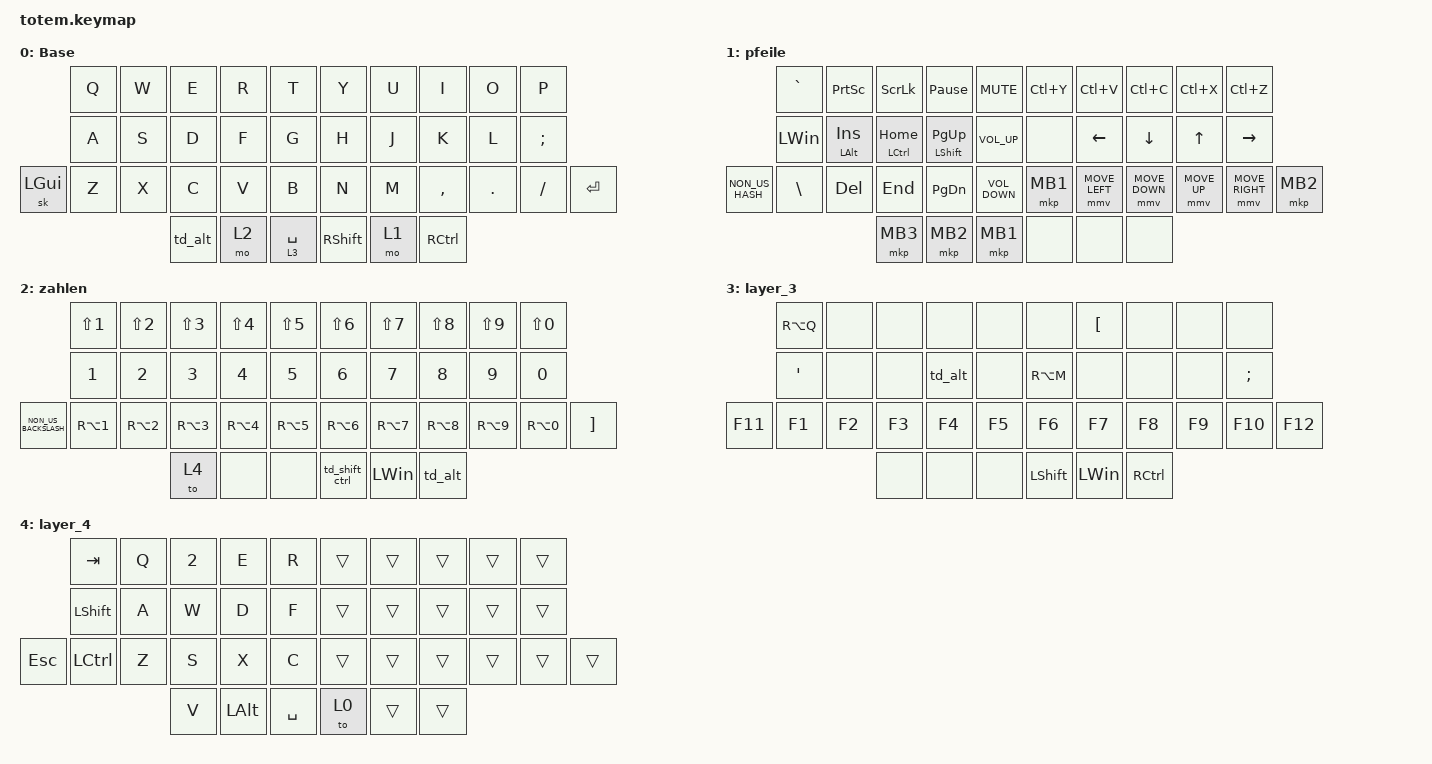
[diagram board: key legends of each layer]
//
//                                                        ▀▀▀▀▀     ▀▀▀▀▀          ▀▀█▀▀
//                                                        ▄▀▀▀▄  ▄  ▄▀▀▀▄  ▄  ▄▀▀▀▄  █  ▄▀▀▀▄
//                                                        █   █  █  █   █  █  █   █  █  █   █
//                                                         ▀▀▀   █   ▀▀▀   █   ▀▀▀   ▀   ▀▀▀
//                                                               █      ▄▄▄█▄▄▄    █   █  
//                                                               ▀      █  █  █     █▄█
//                                                             ▀▀▀▀▀    █  █  █      ▀
//                                                                      ▀  ▀  ▀
//
// ▄▄▄▄▄▄▄▄▄▄▄▄▄▄▄▄▄▄▄▄▄▄▄▄▄▄▄▄▄▄▄▄▄▄▄▄▄▄▄▄▄▄▄▄▄▄▄▄▄▄▄▄▄▄▄▄▄▄▄▄▄▄▄▄▄▄▄▄▄▄▄▄▄▄▄▄▄▄▄▄▄▄▄▄▄▄▄▄▄▄▄▄▄▄▄▄▄▄▄▄▄▄▄▄▄▄▄▄▄▄▄▄▄▄▄▄▄▄▄▄▄▄▄▄▄▄▄▄▄▄▄▄▄▄▄▄▄▄▄▄▄▄▄▄▄▄▄▄▄

#include <behaviors.dtsi>
#include <dt-bindings/zmk/keys.h>
#include <dt-bindings/zmk/pointing.h>

#define Base        0
#define Media       1
#define Nav         2
#define Mouse       3
#define Sym         4
#define Num         5
#define Fun         6
#define Button      7
#define Game        8
#define Gameplus    9

&mt {
    quick-tap-ms = <100>;
    global-quick-tap;
    flavor = "tap-preferred";
    tapping-term-ms = <170>;
};

&lt {
    tapping-term-ms = <240>;
    flavor = "balanced";
    quick-tap-ms = <150>;
};

/ {
    behaviors {
        hm: homerow_mods {
            compatible = "zmk,behavior-hold-tap";
            label = "HOMEROW_MODS";
            #binding-cells = <2>;
            flavor = "tap-preferred";
            tapping-term-ms = <200>;
            quick-tap-ms = <125>;
            global-quick-tap;
            bindings = <&kp>, <&kp>;
        };

        td_alt: td_alt {
            compatible = "zmk,behavior-tap-dance";
            label = "TD_ALT";
            #binding-cells = <0>;
            bindings = <&kp LEFT_ALT>, <&kp RIGHT_ALT>;
        };

        td_shift_ctrl: td_shift_ctrl {
            compatible = "zmk,behavior-tap-dance";
            label = "TD_SHIFT_CTRL";
            #binding-cells = <0>;
            bindings = <&kp LEFT_SHIFT>, <&kp LCTRL>;
        };

        td2: td2 {
            compatible = "zmk,behavior-tap-dance";
            label = "TD2";
            #binding-cells = <0>;
            bindings = <&shit RIGHT_SHIFT>, <&mo 0>;
        };

        shit: shit {
            compatible = "zmk,behavior-sticky-key";
            label = "SHIT";
            bindings = <&kp>;
            #binding-cells = <1>;
            release-after-ms = <50>;
        };

        question: question {
            compatible = "zmk,behavior-mod-morph";
            label = "QUESTION";
            bindings = <&kp LS(NUMBER_1)>, <&kp LS(MINUS)>;

            #binding-cells = <0>;
            mods = <(MOD_LSFT)>;
        };
    };

    combos {
        compatible = "zmk,combos";

        eins {
            bindings = <&kp ESC>;
            key-positions = <1 2>;
            timeout-ms = <100>;
        };

        zwei {
            bindings = <&kp TAB>;
            key-positions = <22 23>;
            timeout-ms = <100>;
        };

        vier {
            bindings = <&kp ENTER>;
            key-positions = <28 29>;
            timeout-ms = <100>;
        };

        del {
            bindings = <&kp BACKSPACE>;
            key-positions = <8 7>;
            timeout-ms = <100>;
        };

        drei {
            bindings = <&kp DELETE>;
            key-positions = <6 7 8>;
            timeout-ms = <100>;
        };

        tequila {
            bindings = <&kp LS(TAB)>;
            key-positions = <22 23 24>;
        };
    };

    keymap {
        compatible = "zmk,keymap";

        Base {
            label = "Base";
            bindings = <
              &kp Q  &kp W  &kp E    &kp R  &kp T          &kp Y            &kp U  &kp I      &kp O    &kp P
              &kp A  &kp S  &kp D    &kp F  &kp G          &kp H            &kp J  &kp K      &kp L    &kp SEMI
&sk LEFT_GUI  &kp Z  &kp X  &kp C    &kp V  &kp B          &kp N            &kp M  &kp COMMA  &kp DOT  &kp FSLH  &kp ENTER
                            &td_alt  &mo 2  &lt 3 SPACE    &kp RIGHT_SHIFT  &mo 1  &kp RCTRL
            >;
        };

        pfeile {
            bindings = <
                 &kp GRAVE      &kp PRINTSCREEN      &kp SCROLLLOCK  &kp PAUSE_BREAK         &kp C_MUTE           &kp LC(Y)  &kp LC(V)       &kp LC(C)       &kp LC(X)     &kp LC(Z)
                 &kp LEFT_WIN   &mt LEFT_ALT INSERT  &mt LCTRL HOME  &mt LEFT_SHIFT PAGE_UP  &kp C_VOLUME_UP      &none      &kp LEFT        &kp DOWN        &kp UP_ARROW  &kp RIGHT
&kp NON_US_HASH  &kp BACKSLASH  &kp DEL              &kp END         &kp PAGE_DOWN           &kp C_VOLUME_DOWN    &mkp MB1   &mmv MOVE_LEFT  &mmv MOVE_DOWN  &mmv MOVE_UP  &mmv MOVE_RIGHT  &mkp MB2
                                                     &mkp MB3        &mkp MB2                &mkp MB1             &none      &none           &none
            >;
        };

        zahlen {
            bindings = <
                      &kp LS(N1)  &kp LS(N2)  &kp LS(N3)  &kp LS(N4)  &kp LS(N5)    &kp LS(N6)      &kp LS(N7)    &kp LS(N8)  &kp LS(N9)  &kp LS(N0)
                      &kp N1      &kp N2      &kp N3      &kp N4      &kp N5        &kp N6          &kp N7        &kp N8      &kp N9      &kp N0
&kp NON_US_BACKSLASH  &kp RA(N1)  &kp RA(N2)  &kp RA(N3)  &kp RA(N4)  &kp RA(N5)    &kp RA(N6)      &kp RA(N7)    &kp RA(N8)  &kp RA(N9)  &kp RA(N0)  &kp RIGHT_BRACKET
                                              &to 4       &none       &none         &td_shift_ctrl  &kp LEFT_WIN  &td_alt
            >;
        };

        layer_3 {
            bindings = <
         &kp RA(Q)  &none   &none   &none    &none     &none           &kp LEFT_BRACKET  &none      &none   &none
         &kp APOS   &none   &none   &td_alt  &none     &kp RA(M)       &none             &none      &none   &kp SEMI
&kp F11  &kp F1     &kp F2  &kp F3  &kp F4   &kp F5    &kp F6          &kp F7            &kp F8     &kp F9  &kp F10   &kp F12
                            &none   &none    &none     &kp LEFT_SHIFT  &kp LEFT_WIN      &kp RCTRL
            >;
        };

        layer_4 {
            bindings = <
         &kp TAB    &kp Q  &kp N2  &kp E     &kp R        &trans  &trans  &trans  &trans  &trans
         &kp LSHFT  &kp A  &kp W   &kp D     &kp F        &trans  &trans  &trans  &trans  &trans
&kp ESC  &kp LCTRL  &kp Z  &kp S   &kp X     &kp C        &trans  &trans  &trans  &trans  &trans  &trans
                           &kp V   &kp LALT  &kp SPACE    &to 0   &trans  &trans
            >;
        };
    };
};
